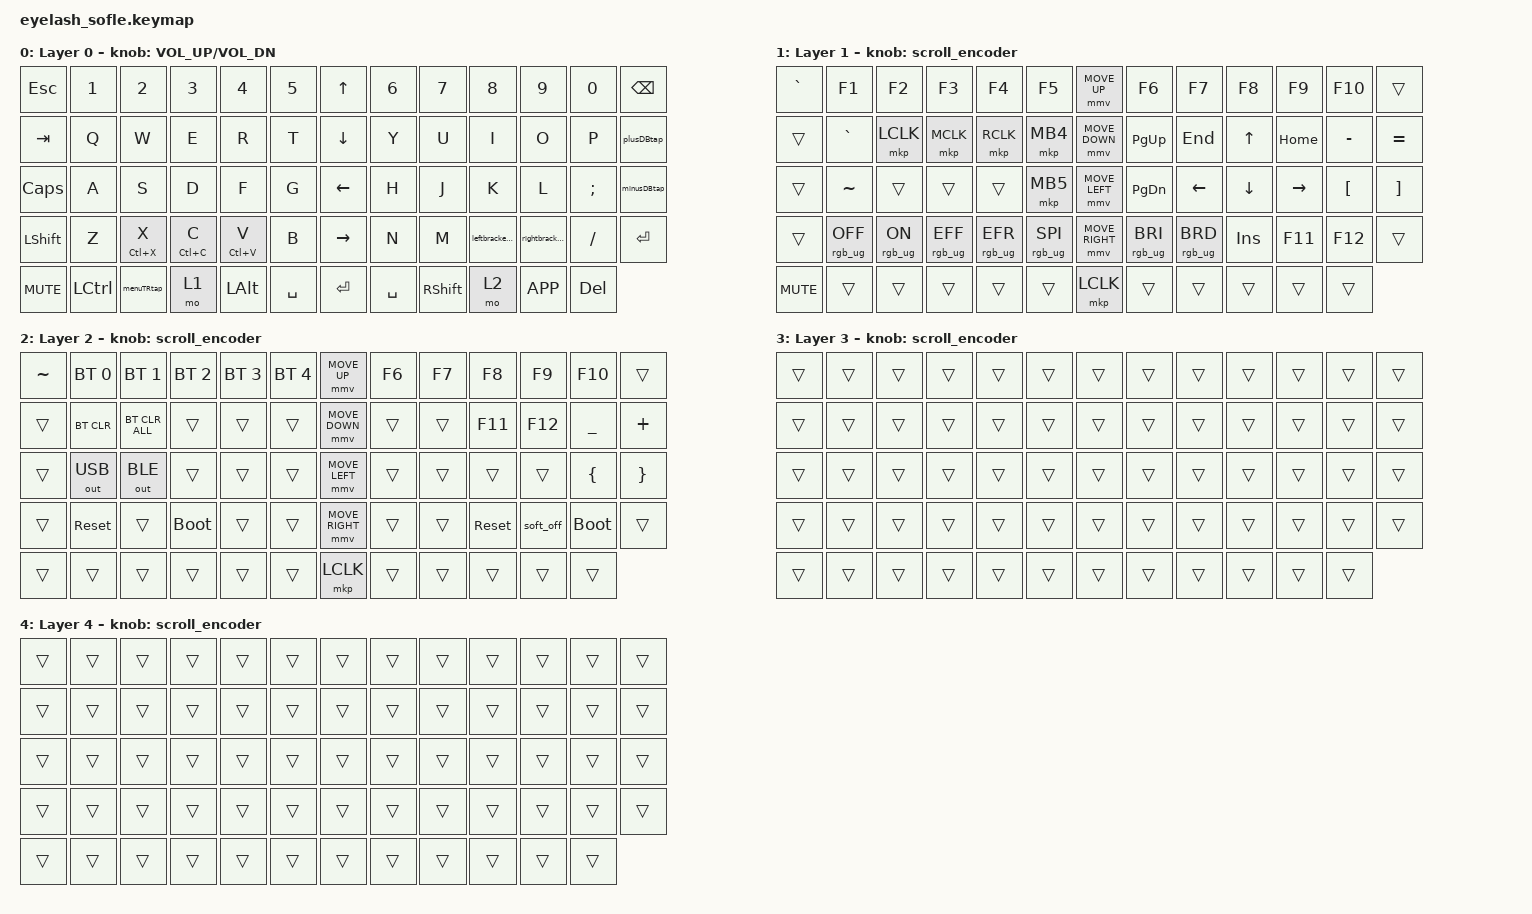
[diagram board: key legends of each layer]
#define ZMK_POINTING_DEFAULT_MOVE_VAL 1200  // 600
#define ZMK_POINTING_DEFAULT_SCRL_VAL 25   // 10

#include <input/processors.dtsi>
#include <zephyr/dt-bindings/input/input-event-codes.h>
#include <behaviors.dtsi>
#include <dt-bindings/zmk/bt.h>
#include <dt-bindings/zmk/keys.h>
#include <dt-bindings/zmk/outputs.h>
#include <dt-bindings/zmk/pointing.h>
#include <dt-bindings/zmk/rgb.h>

&mmv_input_listener { input-processors = <&zip_xy_scaler 2 1>; };

&msc_input_listener { input-processors = <&zip_scroll_scaler 2 1>; };

&msc {
    acceleration-exponent = <1>;      // 0
    time-to-max-speed-ms = <100>;       // 300
    delay-ms = <0>;                   // 0
};

&mmv {
    time-to-max-speed-ms = <500>;
    acceleration-exponent = <1>;
    trigger-period-ms = <16>;
};

&soft_off { hold-time-ms = <2000>; };

/ {
    scroll_encoder: scroll_encoder {
        compatible = "zmk,behavior-sensor-rotate";
        #sensor-binding-cells = <0>;
        bindings = <&msc SCRL_DOWN>, <&msc SCRL_UP>;

        tap-ms = <100>;
    };

    menuTRtap: menuTRtap {
        compatible = "zmk,behavior-tap-dance";
        label = "MENUTRTAP";
        #binding-cells = <0>;
        bindings = <&kp LEFT_GUI>, <&kp LEFT_GUI>, <&kp LG(L)>;
    };

    leftbracketDBtap: leftbracketDBtap {
        compatible = "zmk,behavior-tap-dance";
        label = "LEFTBRACKETDBTAP";
        #binding-cells = <0>;
        bindings = <&kp COMMA>, <&kp LEFT_BRACKET>;

        tapping-term-ms = <175>;
    };

    rightbracketDBtap: rightbracketDBtap {
        compatible = "zmk,behavior-tap-dance";
        label = "RIGHTBRACKETDBTAP";
        #binding-cells = <0>;
        bindings = <&kp PERIOD>, <&kp RIGHT_BRACKET>, <&ellipsis>;

        tapping-term-ms = <175>;
    };

    minusDBtap: minusDBtap {
        compatible = "zmk,behavior-tap-dance";
        label = "MINUSDBTAP";
        #binding-cells = <0>;
        bindings = <&kp SINGLE_QUOTE>, <&kp MINUS>;

        tapping-term-ms = <175>;
    };

    plusDBtap: plusDBtap {
        compatible = "zmk,behavior-tap-dance";
        label = "PLUSDBTAP";
        #binding-cells = <0>;
        bindings = <&kp BACKSLASH>, <&kp EQUAL>;

        tapping-term-ms = <175>;
    };

    longPress: longPress {
        compatible = "zmk,behavior-hold-tap";
        label = "LONGPRESS";
        bindings = <&kp>, <&kp>;

        #binding-cells = <2>;
        flavor = "tap-preferred";
        tapping-term-ms = <350>;
    };

    behaviors {
    };

    combos {
        compatible = "zmk,combos";

        softoff {
            bindings = <&soft_off>;
            key-positions = <14 28 40>;
        };
    };

    macros {
        SHIFT_MCLK: SHIFT_MCLK {
            compatible = "zmk,behavior-macro";
            #binding-cells = <0>;
            bindings =
                <&macro_press>,
                <&kp LEFT_SHIFT>,
                <&macro_press>,
                <&mkp MB3>,
                <&macro_pause_for_release>,
                <&macro_release>,
                <&kp LEFT_SHIFT &mkp MB3>;

            label = "SHIFT_MCLK";
        };

        ellipsis: ellipsis {
            compatible = "zmk,behavior-macro";
            #binding-cells = <0>;
            bindings = <&kp PERIOD &kp DOT &kp DOT>;
            label = "ELLIPSIS";
        };
    };

    keymap {
        compatible = "zmk,keymap";

        Layer_0 {
            bindings = <
&kp ESC     &kp N1     &kp N2              &kp N3              &kp N4              &kp N5       &kp UP_ARROW     &kp N6     &kp N7      &kp N8             &kp N9              &kp N0      &kp BACKSPACE
&kp TAB     &kp Q      &kp W               &kp E               &kp R               &kp T        &kp DOWN_ARROW   &kp Y      &kp U       &kp I              &kp O               &kp P       &plusDBtap
&kp CAPS    &kp A      &kp S               &kp D               &kp F               &kp G        &kp LEFT_ARROW   &kp H      &kp J       &kp K              &kp L               &kp SEMI    &minusDBtap
&kp LSHFT   &kp Z      &longPress LC(X) X  &longPress LC(C) C  &longPress LC(V) V  &kp B        &kp RIGHT_ARROW  &kp N      &kp M       &leftbracketDBtap  &rightbracketDBtap  &kp FSLH    &kp ENTER
&kp C_MUTE  &kp LCTRL  &menuTRtap          &mo 1               &kp LALT            &kp SPACE    &kp ENTER        &kp SPACE  &kp RSHIFT  &mo 2              &kp K_APP           &kp DELETE
            >;

            sensor-bindings = <&inc_dec_kp C_VOLUME_UP C_VOL_DN>;
            display-name = "Layer 0";
        };

        Layer_1 {
            bindings = <
&kp GRAVE   &kp F1           &kp F2          &kp F3           &kp F4           &kp F5             &mmv MOVE_UP     &kp F6           &kp F7           &kp F8      &kp F9     &kp F10           &trans
&trans      &kp GRAVE        &mkp LCLK       &mkp MCLK        &mkp RCLK        &mkp MB4           &mmv MOVE_DOWN   &kp PG_UP        &kp END          &kp UP      &kp HOME   &kp MINUS         &kp EQUAL
&trans      &kp TILDE        &trans          &trans           &trans           &mkp MB5           &mmv MOVE_LEFT   &kp PG_DN        &kp LEFT         &kp DOWN    &kp RIGHT  &kp LEFT_BRACKET  &kp RIGHT_BRACKET
&trans      &rgb_ug RGB_OFF  &rgb_ug RGB_ON  &rgb_ug RGB_EFF  &rgb_ug RGB_EFR  &rgb_ug RGB_SPI    &mmv MOVE_RIGHT  &rgb_ug RGB_BRI  &rgb_ug RGB_BRD  &kp INSERT  &kp F11    &kp F12           &trans
&kp C_MUTE  &trans           &trans          &trans           &trans           &trans             &mkp LCLK        &trans           &trans           &trans      &trans     &trans
            >;

            display-name = "Layer 1";
            sensor-bindings = <&scroll_encoder>;
        };

        Layer_2 {
            bindings = <
&kp TILDE  &bt BT_SEL 0  &bt BT_SEL 1    &bt BT_SEL 2  &bt BT_SEL 3  &bt BT_SEL 4    &mmv MOVE_UP     &kp F6  &kp F7  &kp F8      &kp F9     &kp F10      &trans
&trans     &bt BT_CLR    &bt BT_CLR_ALL  &trans        &trans        &trans          &mmv MOVE_DOWN   &trans  &trans  &kp F11     &kp F12    &kp UNDER    &kp PLUS
&trans     &out OUT_USB  &out OUT_BLE    &trans        &trans        &trans          &mmv MOVE_LEFT   &trans  &trans  &trans      &trans     &kp LBRC     &kp RBRC
&trans     &sys_reset    &trans          &bootloader   &trans        &trans          &mmv MOVE_RIGHT  &trans  &trans  &sys_reset  &soft_off  &bootloader  &trans
&trans     &trans        &trans          &trans        &trans        &trans          &mkp LCLK        &trans  &trans  &trans      &trans     &trans
            >;

            display-name = "Layer 2";
            sensor-bindings = <&scroll_encoder>;
        };

        Layer_3 {
            bindings = <
&trans  &trans  &trans  &trans  &trans  &trans    &trans  &trans  &trans  &trans  &trans  &trans  &trans
&trans  &trans  &trans  &trans  &trans  &trans    &trans  &trans  &trans  &trans  &trans  &trans  &trans
&trans  &trans  &trans  &trans  &trans  &trans    &trans  &trans  &trans  &trans  &trans  &trans  &trans
&trans  &trans  &trans  &trans  &trans  &trans    &trans  &trans  &trans  &trans  &trans  &trans  &trans
&trans  &trans  &trans  &trans  &trans  &trans    &trans  &trans  &trans  &trans  &trans  &trans
            >;

            display-name = "Layer 3";
            sensor-bindings = <&scroll_encoder>;
        };

        Layer_4 {
            bindings = <
&trans  &trans  &trans  &trans  &trans  &trans    &trans  &trans  &trans  &trans  &trans  &trans  &trans
&trans  &trans  &trans  &trans  &trans  &trans    &trans  &trans  &trans  &trans  &trans  &trans  &trans
&trans  &trans  &trans  &trans  &trans  &trans    &trans  &trans  &trans  &trans  &trans  &trans  &trans
&trans  &trans  &trans  &trans  &trans  &trans    &trans  &trans  &trans  &trans  &trans  &trans  &trans
&trans  &trans  &trans  &trans  &trans  &trans    &trans  &trans  &trans  &trans  &trans  &trans
            >;

            display-name = "Layer 4";
            sensor-bindings = <&scroll_encoder>;
        };
    };
};
